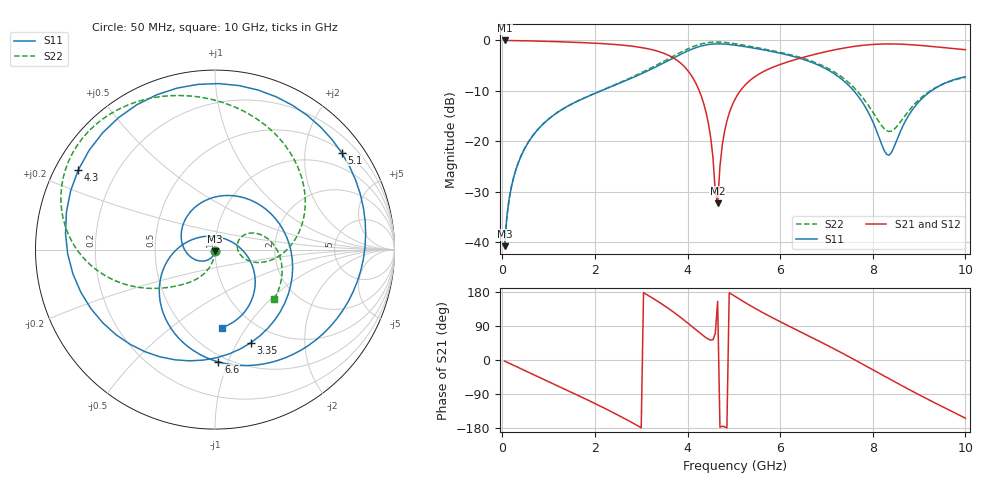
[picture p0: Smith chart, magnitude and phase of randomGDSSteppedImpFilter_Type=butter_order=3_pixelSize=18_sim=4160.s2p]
! freq	dB(S11)	phase(S11)	dB(S12)	phase(S12)
!  dB(S21)	phase(S21)	dB(S22)	phase(S22)
!S-par simulation data
#  GHz  S  DB  R 50
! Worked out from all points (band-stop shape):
!   200 points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, 50 MHz to 10 GHz, reference 50 ohm
!   highest |S21| = 0.00 dB at 50 MHz (marker M1); lowest = -32.4 dB at 4.65 GHz (marker M2)
!   |S21| within 3 dB of the highest: start of sweep to 3.6 GHz; 6.643 GHz to end of sweep
!   lowest |S11| = -40.8 dB at 50 MHz (marker M3), VSWR 1.02, Z = 49.9 - j0.904 ohm
!   |S11| at or under -10 dB: start of sweep to 2.138 GHz; 7.589 GHz to 9.266 GHz (1.677 GHz wide, 19.9 % of centre)
!   |S22| runs from -40.8 to -0.3 dB; largest |S21 - S12| = 0
!   S11 on the Smith chart (normalised r, x): 50 MHz: 1.00, -0.02; 3.35 GHz: 0.76, -1.14; 4.3 GHz: 0.07, +0.27; 5.1 GHz: 0.56, +2.85; 6.6 GHz: 0.45, -0.92; 10 GHz: 0.73, -0.78
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0.05  -40.84 -94.2  -0.00 -2.9  -0.00 -2.9  -40.83 -91.4
0.2  -28.92 -107.2  -0.02 -11.4  -0.02 -11.4  -28.89 -95.8
0.5  -21.19 -133.5  -0.07 -28.5  -0.07 -28.5  -21.16 -104.6
1.15  -14.56 168.8  -0.23 -65.4  -0.23 -65.4  -14.54 -121.0
1.75  -11.51 111.6  -0.44 -100.0  -0.44 -100.0  -11.49 -133.0
2.65  -8.05 15.9  -0.99 -155.2  -0.99 -155.2  -7.92 -147.4
3.35  -5.10 -68.9  -2.12 155.4  -2.12 155.4  -4.81 -162.1
3.4  -4.87 -75.5  -2.27 151.4  -2.27 151.4  -4.56 -163.5
3.85  -2.76 -139.3  -4.50 112.5  -4.50 112.5  -2.36 -179.2
4.3  -1.09 149.8  -11.13 68.0  -11.13 68.0  -0.68 157.6
4.5  -0.75 118.3  -19.27 52.6  -19.27 52.6  -0.36 145.7
4.65  -0.67 95.8  -32.36 154.8  -32.36 154.8  -0.31 137.0
4.8  -0.72 74.8  -18.02 -176.3  -18.02 -176.3  -0.39 128.5
5.05  -0.96 43.2  -11.27 166.1  -11.27 166.1  -0.68 115.5
5.1  -1.03 37.4  -10.52 162.3  -10.52 162.3  -0.76 113.0
5.85  -2.25 -33.7  -5.29 110.5  -5.29 110.5  -2.06 78.5
6.6  -4.07 -88.3  -3.11 64.5  -3.11 64.5  -3.85 42.8
6.7  -4.41 -95.1  -2.87 58.4  -2.87 58.4  -4.18 37.7
7.6  -10.11 -158.4  -1.18 1.1  -1.18 1.1  -9.42 -8.3
8.35  -22.79 74.7  -0.69 -49.2  -0.69 -49.2  -18.07 4.7
9.1  -11.22 -35.6  -1.04 -98.1  -1.04 -98.1  -10.94 15.1
10  -7.21 -84.8  -1.84 -153.4  -1.84 -153.4  -7.35 -39.8
